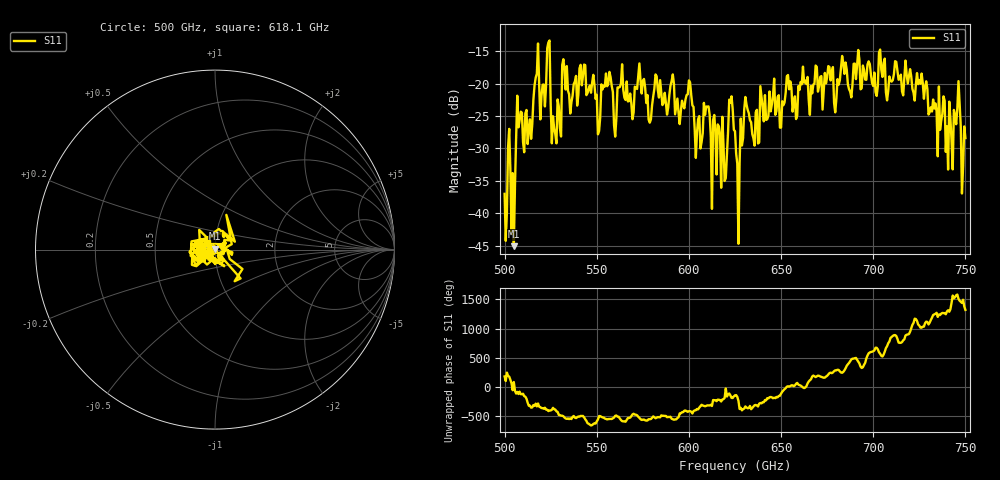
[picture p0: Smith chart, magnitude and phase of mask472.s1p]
!Created with skrf (http://scikit-rf.org).
# GHz S MA R 50.0
!freq magS11 angS11
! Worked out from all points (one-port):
!   401 points, 500 GHz to 750 GHz, reference 50 ohm
!   lowest |S11| = -45.1 dB at 505 GHz (marker M1), VSWR 1.01, Z = 50.1 + j0.552 ohm
!   |S11| at or under -10 dB: start of sweep to end of sweep
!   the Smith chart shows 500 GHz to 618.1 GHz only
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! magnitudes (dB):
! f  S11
! 500 GHz  -37.0
! 503.1 GHz  -33.3
! 505 GHz  -45.1
! 507.5 GHz  -26.7
! 513.8 GHz  -25.5
! 517.5 GHz  -18.5
! 520.6 GHz  -20.2
! 523.8 GHz  -13.7
! 526.9 GHz  -26.9
! 531.2 GHz  -17.1
! 542.5 GHz  -18.9
! 550.6 GHz  -27.8
! 562.5 GHz  -20.5
! 593.8 GHz  -22.3
! 600 GHz  -19.5
! 605 GHz  -25.5
! 609.4 GHz  -23.5
! 618.8 GHz  -29.4
! 622.5 GHz  -22.9
! 625 GHz  -27.3
! 626.2 GHz  -32.4
! 631.2 GHz  -23.2
! 634.4 GHz  -27.8
! 656.2 GHz  -24.3
! 687.5 GHz  -21.3
! 718.8 GHz  -20.0
! 745.6 GHz  -23.9
! 750 GHz  -28.4
